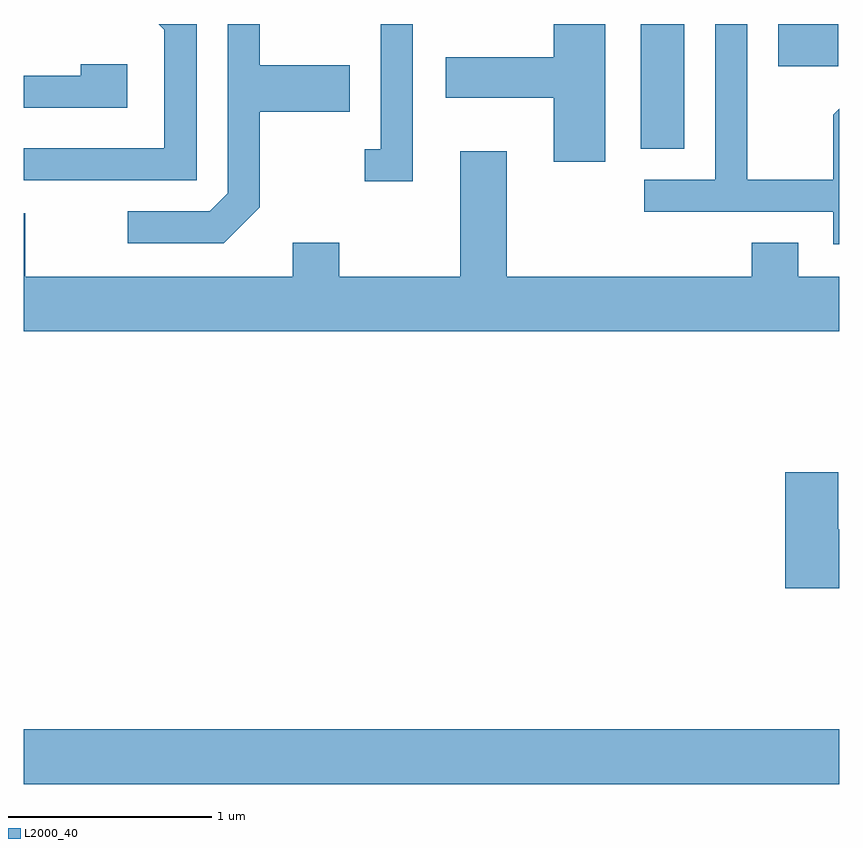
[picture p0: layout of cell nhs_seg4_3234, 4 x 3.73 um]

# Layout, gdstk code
import gdstk
lib = gdstk.Library(unit=1e-6, precision=1e-09)
def R(c, l, rs):  # rectangles x0, y0, x1, y1
    for r in rs: c.add(gdstk.rectangle(r[:2], r[2:], *l))
def P(c, l, *ps):  # polygons
    for p in ps: c.add(gdstk.Polygon(p, *l))
L2000_40 = (2000, 40)

nhs_seg4_3234 = lib.new_cell('nhs_seg4_3234')
R(nhs_seg4_3234, L2000_40, [(279.611,1330.256,283.611,1330.524), (282.636,1333.371,282.849,1333.982), (283.311,1333.776,283.604,1333.982)])
P(nhs_seg4_3234, L2000_40, [(283.611,1333.567),(283.581,1333.537),(283.581,1333.219),(283.159,1333.219),(283.159,1333.982),(283.001,1333.982),(283.001,1333.219),(282.653,1333.219),(282.653,1333.061),(283.581,1333.061),(283.581,1332.901),(283.611,1332.901)],
  [(282.464,1333.982),(282.211,1333.982),(282.211,1333.819),(281.681,1333.819),(281.681,1333.621),(282.211,1333.621),(282.211,1333.306),(282.464,1333.306)],
  [(281.519,1333.982),(281.361,1333.982),(281.361,1333.369),(281.283,1333.369),(281.283,1333.211),(281.519,1333.211)],
  [(280.459,1333.982),(280.273,1333.982),(280.301,1333.954),(280.301,1333.374),(279.611,1333.374),(279.611,1333.216),(280.459,1333.216)],
  [(280.769,1333.084),(280.769,1333.551),(281.209,1333.551),(281.209,1333.779),(280.769,1333.779),(280.769,1333.982),(280.611,1333.982),(280.611,1333.152),(280.524,1333.064),(280.123,1333.064),(280.123,1332.906),(280.592,1332.906)],
  [(280.119,1333.784),(279.891,1333.784),(279.891,1333.729),(279.611,1333.729),(279.611,1333.571),(280.119,1333.571)],
  [(283.611,1332.744),(283.409,1332.744),(283.409,1332.909),(283.181,1332.909),(283.181,1332.744),(281.979,1332.744),(281.979,1333.359),(281.751,1333.359),(281.751,1332.744),(281.159,1332.744),(281.159,1332.909),(280.931,1332.909),(280.931,1332.744),(279.619,1332.744),(279.619,1333.054),(279.611,1333.054),(279.611,1332.476),(283.611,1332.476)],
  [(283.611,1331.504),(283.604,1331.504),(283.604,1331.784),(283.346,1331.784),(283.346,1331.216),(283.611,1331.216)])

lib.write_gds('nhs_seg4_3234.gds')
